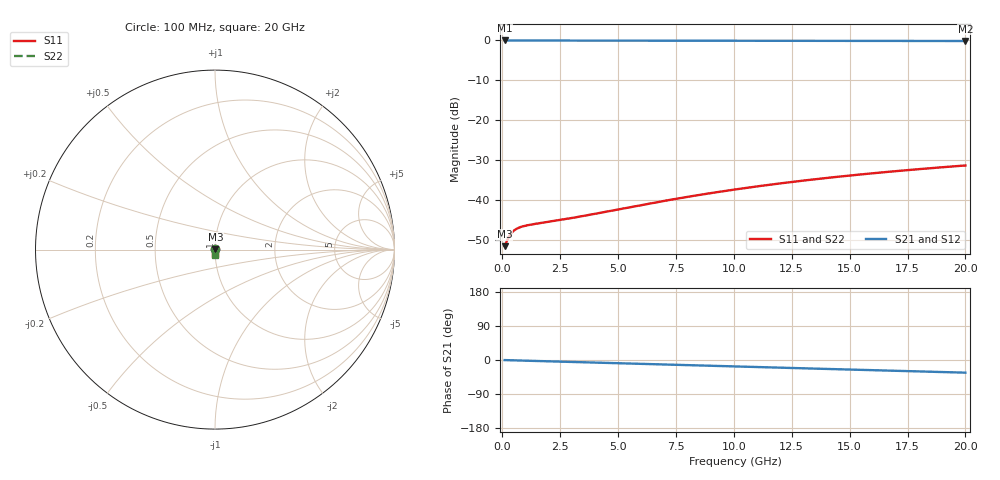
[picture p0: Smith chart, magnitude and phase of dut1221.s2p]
! Touchstone file exported from HFSS 2026.1.0
!  File:  C:/ffzhzh/LocalFiles/Ansys_Project_Files/temp_train_TMRDL_1221_1783163348_22436.aedt
!  Generated:  07:10:12 PM Jul  4, 2026
!  Design:  TMRDL
!  Project:  temp_train_TMRDL_1221_1783163348_22436
! Variables:
!  h_bsmrdl = 2um
!  h_ox = 20um
!  h_rdl = 5um
!  h_sub = 80um
!  h_tmrdl = 3.34um
!  h_tsv = 80um
!  h_via = 3um
!  l_bsmrdl = 300um
!  l_sub = 988.88um
!  l_tmrdl = 588.88um
!  m_sub = 200um
!  pitch = 31.38um
!  r_tsv = 6um
!  s_tmrdl = 10um
!  w_bsmrdl = 18um
!  w_sub = 500um
!  w_tmrdl = 27.46um
!  x_tsv_center1 = 602.61um
!  x_tsv_center2 = 920.61um
!  x_tsv_center3 = 1536.95um
!  x_tsv_center4 = 1854.95um
!  x_tsv_center5 = 2471.29um
!  x_tsv_center6 = 2789.29um
# GHz S MA R 50.000000
! Terminal data exported
! Port[1] = TM_RDL1_1_T1
! Port[2] = TM_RDL1_1_T2
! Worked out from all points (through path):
!   200 points, 100 MHz to 20 GHz, reference 50 ohm
!   highest |S21| = -0.02 dB at 100 MHz (marker M1); lowest = -0.2 dB at 20 GHz (marker M2)
!   group delay of S21, straight-line fit = 4.63 ps
!   lowest |S11| = -51.4 dB at 100 MHz (marker M3), VSWR 1.01, Z = 50.3 + j0.0566 ohm
!   |S11| at or under -10 dB: start of sweep to end of sweep
!   |S22| runs from -51.4 to -31.2 dB; largest |S21 - S12| = 2.6e-15
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0.1  0.002681 12.1  0.9974 -0.2  0.9974 -0.2  0.002681 12.1
! Gamma 0 0 0 0
! Port Impedance 50 0 50 0
0.2  0.003125 17.8  0.997 -0.4  0.997 -0.4  0.003125 17.8
0.3  0.00357 18.6  0.9966 -0.6  0.9966 -0.6  0.00357 18.6
0.4  0.003927 17.3  0.9963 -0.8  0.9963 -0.8  0.003927 17.3
0.5  0.004194 15.4  0.996 -0.9  0.996 -0.9  0.004194 15.4
0.6  0.004392 13.4  0.9957 -1.1  0.9957 -1.1  0.004392 13.4
0.7  0.004541 11.6  0.9956 -1.3  0.9956 -1.3  0.004542 11.6
0.8  0.004658 9.9  0.9954 -1.4  0.9954 -1.4  0.004659 9.9
0.9  0.004752 8.4  0.9953 -1.6  0.9953 -1.6  0.004754 8.4
1.2  0.004964 4.7  0.995 -2.1  0.995 -2.1  0.004967 4.7
2.5  0.005695 -5.5  0.9943 -4.3  0.9943 -4.3  0.005703 -5.5
3.5  0.006395 -11.9  0.9936 -6.0  0.9936 -6.0  0.006411 -11.9
5.1  0.007818 -21.8  0.9923 -8.8  0.9923 -8.8  0.007851 -21.8
6.8  0.009646 -31.9  0.9908 -11.6  0.9908 -11.6  0.009702 -31.8
8.5  0.0117 -41.2  0.9894 -14.5  0.9894 -14.5  0.01178 -41.0
10.1  0.01376 -49.1  0.988 -17.1  0.988 -17.1  0.01387 -48.9
11.7  0.01591 -56.3  0.9868 -19.8  0.9868 -19.8  0.01605 -56.0
13.4  0.01824 -63.3  0.9856 -22.6  0.9856 -22.6  0.01842 -62.9
15  0.02045 -69.3  0.9845 -25.2  0.9845 -25.2  0.02066 -68.8
16.7  0.02281 -75.2  0.9834 -28.0  0.9834 -28.0  0.02306 -74.6
18.3  0.02502 -80.3  0.9825 -30.6  0.9825 -30.6  0.0253 -79.7
20  0.02734 -85.4  0.9815 -33.4  0.9815 -33.4  0.02766 -84.7
